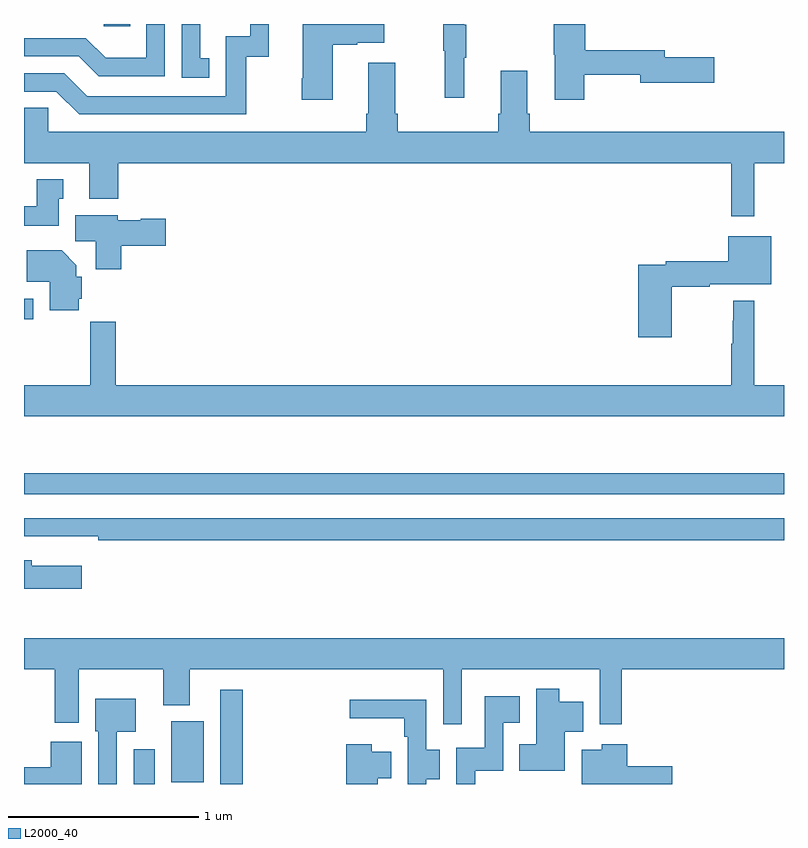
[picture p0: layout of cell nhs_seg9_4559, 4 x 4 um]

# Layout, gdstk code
import gdstk
lib = gdstk.Library(unit=1e-6, precision=1e-09)
def R(c, l, rs):  # rectangles x0, y0, x1, y1
    for r in rs: c.add(gdstk.rectangle(r[:2], r[2:], *l))
def P(c, l, *ps):  # polygons
    for p in ps: c.add(gdstk.Polygon(p, *l))
L2000_40 = (2000, 40)

nhs_seg9_4559 = lib.new_cell('nhs_seg9_4559')
R(nhs_seg9_4559, L2000_40, [(373.577,1178.5,373.687,1178.683), (374.034,1178.5,374.15,1178.995), (373.775,1178.51,373.945,1178.83), (373,1180.026,377,1180.135), (373,1180.947,373.048,1181.055), (373.419,1182.489,373.559,1182.5)])
P(nhs_seg9_4559, L2000_40, [(375.948,1182.234),(376.244,1182.234),(376.244,1182.191),(376.633,1182.191),(376.633,1182.326),(376.372,1182.326),(376.372,1182.362),(375.953,1182.362),(375.953,1182.5),(375.787,1182.5),(375.787,1182.339),(375.794,1182.339),(375.794,1182.102),(375.948,1182.102)],
  [(375.317,1182.323),(375.328,1182.323),(375.328,1182.497),(375.317,1182.497),(375.317,1182.5),(375.207,1182.5),(375.207,1182.36),(375.214,1182.36),(375.214,1182.111),(375.317,1182.111)],
  [(373.976,1182.321),(373.927,1182.321),(373.927,1182.5),(373.83,1182.5),(373.83,1182.216),(373.976,1182.216)],
  [(374.17,1182.327),(374.288,1182.327),(374.288,1182.5),(374.19,1182.5),(374.19,1182.435),(374.061,1182.435),(374.061,1182.12),(373.332,1182.12),(373.212,1182.24),(373,1182.24),(373,1182.144),(373.17,1182.144),(373.29,1182.024),(374.17,1182.024)],
  [(374.626,1182.391),(374.753,1182.391),(374.753,1182.401),(374.896,1182.401),(374.896,1182.5),(374.468,1182.5),(374.468,1182.214),(374.461,1182.214),(374.461,1182.102),(374.626,1182.102)],
  [(373.74,1182.5),(373.644,1182.5),(373.644,1182.322),(373.43,1182.322),(373.326,1182.426),(373,1182.426),(373,1182.33),(373.289,1182.33),(373.394,1182.225),(373.74,1182.225)],
  [(376.843,1181.768),(377,1181.768),(377,1181.932),(375.662,1181.932),(375.662,1182.028),(375.649,1182.028),(375.649,1182.253),(375.509,1182.253),(375.509,1182.028),(375.497,1182.028),(375.497,1181.932),(374.966,1181.932),(374.966,1182.028),(374.953,1182.028),(374.953,1182.295),(374.813,1182.295),(374.813,1182.028),(374.801,1182.028),(374.801,1181.932),(373.128,1181.932),(373.128,1182.059),(373,1182.059),(373,1181.768),(373.343,1181.768),(373.343,1181.579),(373.496,1181.579),(373.496,1181.768),(376.722,1181.768),(376.722,1181.487),(376.843,1181.487)],
  [(373.183,1181.58),(373.207,1181.58),(373.207,1181.683),(373.067,1181.683),(373.067,1181.542),(373,1181.542),(373,1181.438),(373.183,1181.438)],
  [(373.511,1181.333),(373.747,1181.333),(373.747,1181.475),(373.614,1181.475),(373.614,1181.467),(373.494,1181.467),(373.494,1181.494),(373.271,1181.494),(373.271,1181.356),(373.377,1181.356),(373.377,1181.208),(373.511,1181.208)],
  [(376.41,1181.116),(376.61,1181.116),(376.61,1181.129),(376.933,1181.129),(376.933,1181.383),(376.706,1181.383),(376.706,1181.252),(376.378,1181.252),(376.378,1181.232),(376.232,1181.232),(376.232,1180.851),(376.41,1180.851)],
  [(373.289,1181.055),(373.305,1181.055),(373.305,1181.169),(373.276,1181.169),(373.276,1181.23),(373.198,1181.308),(373.015,1181.308),(373.015,1181.144),(373.136,1181.144),(373.136,1180.994),(373.289,1180.994)],
  [(377,1180.6),(376.843,1180.6),(376.843,1181.044),(376.732,1181.044),(376.732,1180.937),(376.729,1180.937),(376.729,1180.817),(376.722,1180.817),(376.722,1180.6),(373.484,1180.6),(373.484,1180.933),(373.348,1180.933),(373.348,1180.6),(373,1180.6),(373,1180.436),(377,1180.436)],
  [(377,1179.9),(373,1179.9),(373,1179.804),(373.138,1179.804),(373.138,1179.803),(373.39,1179.803),(373.39,1179.784),(377,1179.784)],
  [(373.303,1179.649),(373.042,1179.649),(373.042,1179.678),(373,1179.678),(373,1179.527),(373.303,1179.527)],
  [(375.303,1179.104),(376.029,1179.104),(376.029,1178.814),(376.145,1178.814),(376.145,1179.104),(377,1179.104),(377,1179.268),(373,1179.268),(373,1179.104),(373.163,1179.104),(373.163,1178.823),(373.288,1178.823),(373.288,1179.104),(373.733,1179.104),(373.733,1178.915),(373.873,1178.915),(373.873,1179.104),(375.207,1179.104),(375.207,1178.814),(375.303,1178.814)],
  [(375.847,1178.774),(375.944,1178.774),(375.944,1178.932),(375.817,1178.932),(375.817,1179.001),(375.695,1179.001),(375.695,1178.71),(375.607,1178.71),(375.607,1178.57),(375.847,1178.57)],
  [(375.375,1178.57),(375.522,1178.57),(375.522,1178.822),(375.61,1178.822),(375.61,1178.962),(375.426,1178.962),(375.426,1178.692),(375.276,1178.692),(375.276,1178.5),(375.375,1178.5)],
  [(373.488,1178.774),(373.588,1178.774),(373.588,1178.95),(373.376,1178.95),(373.376,1178.778),(373.392,1178.778),(373.392,1178.5),(373.488,1178.5)],
  [(375.117,1178.524),(375.187,1178.524),(375.187,1178.679),(375.117,1178.679),(375.117,1178.944),(374.715,1178.944),(374.715,1178.846),(375.001,1178.846),(375.001,1178.75),(375.021,1178.75),(375.021,1178.5),(375.117,1178.5)],
  [(373.303,1178.722),(373.142,1178.722),(373.142,1178.588),(373,1178.588),(373,1178.5),(373.303,1178.5)],
  [(374.863,1178.531),(374.932,1178.531),(374.932,1178.671),(374.83,1178.671),(374.83,1178.71),(374.696,1178.71),(374.696,1178.5),(374.863,1178.5)],
  [(376.411,1178.594),(376.175,1178.594),(376.175,1178.71),(376.04,1178.71),(376.04,1178.68),(375.935,1178.68),(375.935,1178.5),(376.411,1178.5)])

lib.write_gds('nhs_seg9_4559.gds')
